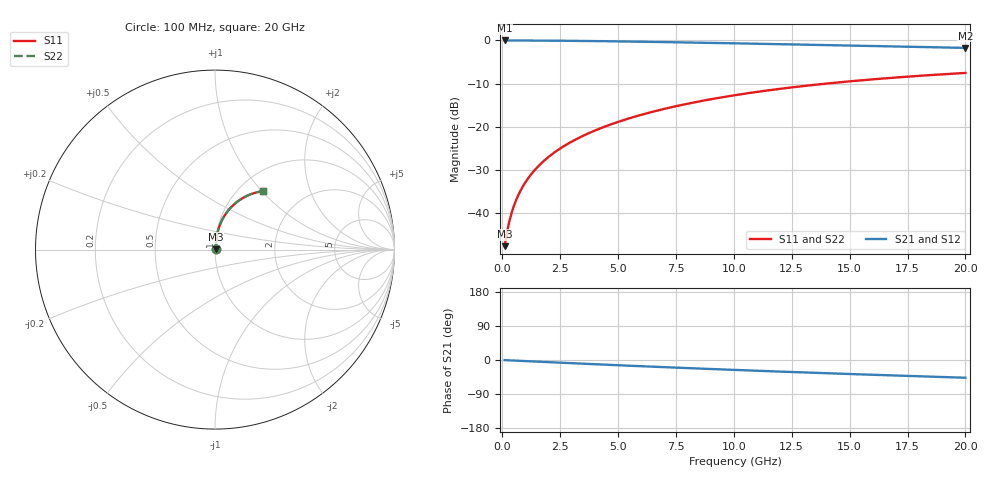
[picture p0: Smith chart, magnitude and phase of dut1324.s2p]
! Touchstone file exported from HFSS 2024.1.0
!  File:  C:/UserFiles/LocalFiles/RDL_TSV_Batchsim/temp_RDL_bottom_1324_1780369083.aedt
!  Generated:  11:00:47 AM Jun  2, 2026
!  Design:  RDL_bottom
!  Project:  temp_RDL_bottom_1324_1780369083
!  Setup:  Setup1
!  Solution:  Sweep
! Variables:
!  dtsv = 10.80580581um
!  hbump = 3um
!  htsv = 94.79um
!  ldown = 649.93um
!  lrdl = 100um
!  p = 40
!  p1 = 53.06um
!  rhole = 1um
!  t = 450um
!  tdown = 3.38um
!  trdl = 3.915915916um
!  wdown = 21.27um
!  wrdl = 20um
# GHz S MA R 50.000000
! Terminal data exported
! Port[1] = RDL1_T1
! Port[2] = RDL1_T2
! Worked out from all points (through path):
!   200 points, 100 MHz to 20 GHz, reference 50 ohm
!   highest |S21| = -0.03 dB at 100 MHz (marker M1); lowest = -1.7 dB at 20 GHz (marker M2)
!   group delay of S21, straight-line fit = 6.46 ps
!   lowest |S11| = -47.6 dB at 100 MHz (marker M3), VSWR 1.01, Z = 50.3 + j0.245 ohm
!   |S11| at or under -10 dB: start of sweep to 14 GHz
!   |S22| runs from -47.6 to -7.5 dB; largest |S21 - S12| = 1.6e-14
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0.1  0.004173 35.6  0.9966 -0.3  0.9966 -0.3  0.004173 35.6
! Gamma 0 0 0 0
! Port Impedance 50 0 50 0
0.2  0.00596 53.5  0.9964 -0.6  0.9964 -0.6  0.00596 53.5
0.3  0.007989 62.2  0.9962 -0.9  0.9962 -0.9  0.007989 62.2
0.4  0.01007 67.3  0.996 -1.2  0.996 -1.2  0.01007 67.3
0.5  0.01217 70.7  0.9958 -1.5  0.9958 -1.5  0.01217 70.7
0.6  0.01429 73.1  0.9956 -1.7  0.9956 -1.7  0.01429 73.1
0.8  0.01856 76.3  0.9952 -2.3  0.9952 -2.3  0.01856 76.3
1.1  0.02505 79.1  0.9946 -3.1  0.9946 -3.1  0.02505 79.1
1.3  0.02943 80.2  0.994 -3.7  0.994 -3.7  0.02943 80.2
1.6  0.03604 81.3  0.9931 -4.6  0.9931 -4.6  0.03604 81.3
2.1  0.04719 82.2  0.9912 -6.0  0.9912 -6.0  0.04719 82.2
2.7  0.06073 82.5  0.9883 -7.6  0.9883 -7.6  0.06073 82.5
3.5  0.07904 82.2  0.9836 -9.8  0.9836 -9.8  0.07904 82.2
4.2  0.09528 81.6  0.9787 -11.7  0.9787 -11.7  0.09529 81.6
5  0.114 80.5  0.9724 -13.8  0.9724 -13.8  0.1141 80.6
6.8  0.1567 77.6  0.9564 -18.4  0.9564 -18.4  0.1567 77.6
8.4  0.1943 74.5  0.9405 -22.3  0.9405 -22.3  0.1944 74.5
10.1  0.2334 71.0  0.9229 -26.3  0.9229 -26.3  0.2335 71.0
11.7  0.2687 67.6  0.9058 -29.9  0.9058 -29.9  0.2687 67.6
13.4  0.3042 64.0  0.8875 -33.6  0.8875 -33.6  0.3043 64.0
16.7  0.3665 57.2  0.852 -40.4  0.852 -40.4  0.3666 57.2
20  0.4197 50.9  0.8176 -46.8  0.8176 -46.8  0.4198 50.9
